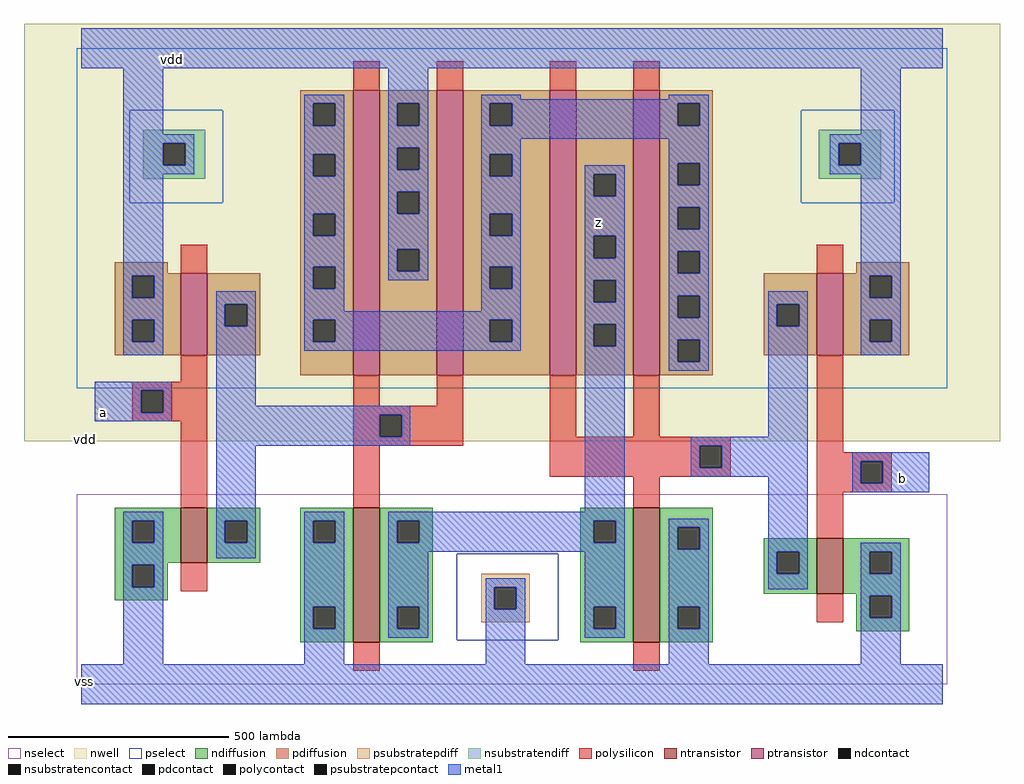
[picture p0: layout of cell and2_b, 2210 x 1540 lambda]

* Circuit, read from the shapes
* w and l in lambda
.subckt and2_b z a b vdd vss
M1 n1 a vss vss nfet w=125 l=60
M2 z n1 vss vss nfet w=305 l=60
M3 vss n2 z vss nfet w=305 l=60
M4 vss b n2 vss nfet w=125 l=60
M5 n1 a vdd vdd pfet w=185 l=60
M6 vdd n1 n3 vdd pfet w=645 l=60 m=2
M7 z n2 n3 vdd pfet w=645 l=60 m=2
M8 vdd b n2 vdd pfet w=185 l=60
.ends

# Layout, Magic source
magic
tech amic5n
<< nwell >>
rect -130 550 2080 1495
<< ntransistor >>
rect 225 275 285 400
rect 615 95 675 400
rect 1250 95 1310 400
rect 1665 205 1725 330
<< ptransistor >>
rect 225 745 285 930
rect 615 700 675 1345
rect 805 700 865 1345
rect 1060 700 1120 1345
rect 1250 700 1310 1345
rect 1665 745 1725 930
<< nselect >>
rect 110 1090 320 1300
rect 1630 1090 1840 1300
rect -10 295 1960 430
rect -10 100 850 295
rect 1080 100 1960 295
rect -10 0 1960 100
<< pselect >>
rect -10 1300 1960 1440
rect -10 1090 110 1300
rect 320 1090 1630 1300
rect 1840 1090 1960 1300
rect -10 670 1960 1090
rect 850 100 1080 295
<< ndiffusion >>
rect 75 370 225 400
rect 75 320 115 370
rect 165 320 225 370
rect 75 275 225 320
rect 285 370 405 400
rect 285 320 325 370
rect 375 320 405 370
rect 285 275 405 320
rect 495 370 615 400
rect 495 320 525 370
rect 575 320 615 370
rect 75 270 195 275
rect 75 220 115 270
rect 165 220 195 270
rect 75 190 195 220
rect 495 175 615 320
rect 495 125 525 175
rect 575 125 615 175
rect 495 95 615 125
rect 675 370 795 400
rect 675 320 715 370
rect 765 320 795 370
rect 675 175 795 320
rect 1130 370 1250 400
rect 1130 320 1160 370
rect 1210 320 1250 370
rect 675 125 715 175
rect 765 125 795 175
rect 1130 175 1250 320
rect 675 95 795 125
rect 1130 125 1160 175
rect 1210 125 1250 175
rect 1130 95 1250 125
rect 1310 355 1430 400
rect 1310 305 1350 355
rect 1400 305 1430 355
rect 1310 175 1430 305
rect 1545 300 1665 330
rect 1545 250 1575 300
rect 1625 250 1665 300
rect 1545 205 1665 250
rect 1725 300 1875 330
rect 1725 250 1785 300
rect 1835 250 1875 300
rect 1725 205 1875 250
rect 1310 125 1350 175
rect 1400 125 1430 175
rect 1755 200 1875 205
rect 1755 150 1785 200
rect 1835 150 1875 200
rect 1310 95 1430 125
rect 1755 120 1875 150
<< pdiffusion >>
rect 495 1315 615 1345
rect 495 1265 525 1315
rect 575 1265 615 1315
rect 495 1200 615 1265
rect 495 1150 525 1200
rect 575 1150 615 1200
rect 495 1065 615 1150
rect 495 1015 525 1065
rect 575 1015 615 1065
rect 75 930 195 955
rect 495 945 615 1015
rect 75 925 225 930
rect 75 875 115 925
rect 165 875 225 925
rect 75 825 225 875
rect 75 775 115 825
rect 165 775 225 825
rect 75 745 225 775
rect 285 860 405 930
rect 285 810 325 860
rect 375 810 405 860
rect 285 745 405 810
rect 495 895 525 945
rect 575 895 615 945
rect 495 825 615 895
rect 495 775 525 825
rect 575 775 615 825
rect 495 700 615 775
rect 675 1315 805 1345
rect 675 1265 715 1315
rect 765 1265 805 1315
rect 675 1215 805 1265
rect 675 1165 715 1215
rect 765 1165 805 1215
rect 675 1115 805 1165
rect 675 1065 715 1115
rect 765 1065 805 1115
rect 675 985 805 1065
rect 675 935 715 985
rect 765 935 805 985
rect 675 700 805 935
rect 865 1315 1060 1345
rect 865 1265 925 1315
rect 975 1265 1060 1315
rect 865 1200 1060 1265
rect 865 1150 925 1200
rect 975 1150 1060 1200
rect 865 1065 1060 1150
rect 865 1015 925 1065
rect 975 1015 1060 1065
rect 865 945 1060 1015
rect 865 895 925 945
rect 975 895 1060 945
rect 865 825 1060 895
rect 865 775 925 825
rect 975 775 1060 825
rect 865 700 1060 775
rect 1120 1155 1250 1345
rect 1120 1105 1160 1155
rect 1210 1105 1250 1155
rect 1120 1015 1250 1105
rect 1120 965 1160 1015
rect 1210 965 1250 1015
rect 1120 915 1250 965
rect 1120 865 1160 915
rect 1210 865 1250 915
rect 1120 815 1250 865
rect 1120 765 1160 815
rect 1210 765 1250 815
rect 1120 700 1250 765
rect 1310 1315 1430 1345
rect 1310 1265 1350 1315
rect 1400 1265 1430 1315
rect 1310 1180 1430 1265
rect 1310 1130 1350 1180
rect 1400 1130 1430 1180
rect 1310 1080 1430 1130
rect 1310 1030 1350 1080
rect 1400 1030 1430 1080
rect 1310 980 1430 1030
rect 1310 930 1350 980
rect 1400 930 1430 980
rect 1755 930 1875 955
rect 1310 880 1430 930
rect 1310 830 1350 880
rect 1400 830 1430 880
rect 1310 780 1430 830
rect 1310 730 1350 780
rect 1400 730 1430 780
rect 1545 860 1665 930
rect 1545 810 1575 860
rect 1625 810 1665 860
rect 1545 745 1665 810
rect 1725 925 1875 930
rect 1725 875 1785 925
rect 1835 875 1875 925
rect 1725 825 1875 875
rect 1725 775 1785 825
rect 1835 775 1875 825
rect 1725 745 1875 775
rect 1310 700 1430 730
<< psubstratepdiff >>
rect 905 220 1015 250
rect 905 170 935 220
rect 985 170 1015 220
rect 905 140 1015 170
<< nsubstratendiff >>
rect 140 1225 280 1255
rect 140 1175 185 1225
rect 235 1175 280 1225
rect 140 1145 280 1175
rect 1670 1225 1810 1255
rect 1670 1175 1715 1225
rect 1765 1175 1810 1225
rect 1670 1145 1810 1175
<< nsubstratencontact >>
rect 185 1175 235 1225
rect 1715 1175 1765 1225
<< psubstratepcontact >>
rect 935 170 985 220
<< ndcontact >>
rect 115 320 165 370
rect 325 320 375 370
rect 525 320 575 370
rect 115 220 165 270
rect 525 125 575 175
rect 715 320 765 370
rect 1160 320 1210 370
rect 715 125 765 175
rect 1160 125 1210 175
rect 1350 305 1400 355
rect 1575 250 1625 300
rect 1785 250 1835 300
rect 1350 125 1400 175
rect 1785 150 1835 200
<< pdcontact >>
rect 525 1265 575 1315
rect 525 1150 575 1200
rect 525 1015 575 1065
rect 115 875 165 925
rect 115 775 165 825
rect 325 810 375 860
rect 525 895 575 945
rect 525 775 575 825
rect 715 1265 765 1315
rect 715 1165 765 1215
rect 715 1065 765 1115
rect 715 935 765 985
rect 925 1265 975 1315
rect 925 1150 975 1200
rect 925 1015 975 1065
rect 925 895 975 945
rect 925 775 975 825
rect 1160 1105 1210 1155
rect 1160 965 1210 1015
rect 1160 865 1210 915
rect 1160 765 1210 815
rect 1350 1265 1400 1315
rect 1350 1130 1400 1180
rect 1350 1030 1400 1080
rect 1350 930 1400 980
rect 1350 830 1400 880
rect 1350 730 1400 780
rect 1575 810 1625 860
rect 1785 875 1835 925
rect 1785 775 1835 825
<< polysilicon >>
rect 615 1345 675 1410
rect 805 1345 865 1410
rect 1060 1345 1120 1410
rect 1250 1345 1310 1410
rect 225 930 285 995
rect 225 685 285 745
rect 1665 930 1725 995
rect 115 665 285 685
rect 115 615 135 665
rect 185 615 285 665
rect 115 595 285 615
rect 225 400 285 595
rect 615 630 675 700
rect 805 630 865 700
rect 615 610 865 630
rect 615 560 675 610
rect 725 560 865 610
rect 615 540 865 560
rect 1060 560 1120 700
rect 1250 560 1310 700
rect 1060 540 1470 560
rect 615 400 675 540
rect 1060 490 1400 540
rect 1450 490 1470 540
rect 1060 470 1470 490
rect 1665 525 1725 745
rect 1665 505 1835 525
rect 1250 400 1310 470
rect 1665 455 1765 505
rect 1815 455 1835 505
rect 1665 435 1835 455
rect 225 210 285 275
rect 1665 330 1725 435
rect 1665 140 1725 205
rect 615 30 675 95
rect 1250 30 1310 95
<< polycontact >>
rect 135 615 185 665
rect 675 560 725 610
rect 1400 490 1450 540
rect 1765 455 1815 505
<< metal1 >>
rect 0 1395 1950 1485
rect 95 1245 185 1395
rect 505 1315 595 1335
rect 505 1265 525 1315
rect 575 1265 595 1315
rect 95 1225 255 1245
rect 95 1175 185 1225
rect 235 1175 255 1225
rect 95 1155 255 1175
rect 505 1200 595 1265
rect 95 925 185 1155
rect 95 875 115 925
rect 165 875 185 925
rect 505 1150 525 1200
rect 575 1150 595 1200
rect 505 1065 595 1150
rect 505 1015 525 1065
rect 575 1015 595 1065
rect 505 945 595 1015
rect 505 895 525 945
rect 575 895 595 945
rect 695 1315 785 1395
rect 695 1265 715 1315
rect 765 1265 785 1315
rect 695 1215 785 1265
rect 695 1165 715 1215
rect 765 1165 785 1215
rect 695 1115 785 1165
rect 695 1065 715 1115
rect 765 1065 785 1115
rect 695 985 785 1065
rect 695 935 715 985
rect 765 935 785 985
rect 695 915 785 935
rect 905 1325 995 1335
rect 1330 1325 1420 1335
rect 905 1315 1420 1325
rect 905 1265 925 1315
rect 975 1265 1350 1315
rect 1400 1265 1420 1315
rect 905 1235 1420 1265
rect 1765 1245 1855 1395
rect 905 1200 995 1235
rect 905 1150 925 1200
rect 975 1150 995 1200
rect 1330 1180 1420 1235
rect 905 1065 995 1150
rect 905 1015 925 1065
rect 975 1015 995 1065
rect 905 945 995 1015
rect 95 825 185 875
rect 95 775 115 825
rect 165 775 185 825
rect 95 745 185 775
rect 305 860 395 890
rect 305 810 325 860
rect 375 810 395 860
rect 30 665 205 685
rect 30 615 135 665
rect 185 615 205 665
rect 30 595 205 615
rect 305 630 395 810
rect 505 845 595 895
rect 905 895 925 945
rect 975 895 995 945
rect 905 845 995 895
rect 505 825 995 845
rect 505 775 525 825
rect 575 775 925 825
rect 975 775 995 825
rect 505 755 995 775
rect 1140 1155 1230 1175
rect 1140 1105 1160 1155
rect 1210 1105 1230 1155
rect 1140 1015 1230 1105
rect 1140 965 1160 1015
rect 1210 965 1230 1015
rect 1140 915 1230 965
rect 1140 865 1160 915
rect 1210 865 1230 915
rect 1140 815 1230 865
rect 1140 765 1160 815
rect 1210 765 1230 815
rect 305 610 745 630
rect 305 560 675 610
rect 725 560 745 610
rect 305 540 745 560
rect 95 370 185 390
rect 95 320 115 370
rect 165 320 185 370
rect 95 270 185 320
rect 305 370 395 540
rect 1140 390 1230 765
rect 1330 1130 1350 1180
rect 1400 1130 1420 1180
rect 1695 1225 1855 1245
rect 1695 1175 1715 1225
rect 1765 1175 1855 1225
rect 1695 1155 1855 1175
rect 1330 1080 1420 1130
rect 1330 1030 1350 1080
rect 1400 1030 1420 1080
rect 1330 980 1420 1030
rect 1330 930 1350 980
rect 1400 930 1420 980
rect 1330 880 1420 930
rect 1765 925 1855 1155
rect 1330 830 1350 880
rect 1400 830 1420 880
rect 1330 780 1420 830
rect 1330 730 1350 780
rect 1400 730 1420 780
rect 1330 710 1420 730
rect 1555 860 1645 890
rect 1555 810 1575 860
rect 1625 810 1645 860
rect 1555 560 1645 810
rect 1765 875 1785 925
rect 1835 875 1855 925
rect 1765 825 1855 875
rect 1765 775 1785 825
rect 1835 775 1855 825
rect 1765 745 1855 775
rect 1380 540 1645 560
rect 1380 490 1400 540
rect 1450 490 1645 540
rect 1380 470 1645 490
rect 305 320 325 370
rect 375 320 395 370
rect 305 285 395 320
rect 505 370 595 390
rect 505 320 525 370
rect 575 320 595 370
rect 95 220 115 270
rect 165 220 185 270
rect 95 45 185 220
rect 505 175 595 320
rect 505 125 525 175
rect 575 125 595 175
rect 505 45 595 125
rect 695 370 1230 390
rect 695 320 715 370
rect 765 320 1160 370
rect 1210 320 1230 370
rect 695 300 1230 320
rect 695 175 785 300
rect 695 125 715 175
rect 765 125 785 175
rect 695 105 785 125
rect 915 220 1005 240
rect 915 170 935 220
rect 985 170 1005 220
rect 915 45 1005 170
rect 1140 175 1230 300
rect 1140 125 1160 175
rect 1210 125 1230 175
rect 1140 105 1230 125
rect 1330 355 1420 375
rect 1330 305 1350 355
rect 1400 305 1420 355
rect 1330 175 1420 305
rect 1555 300 1645 470
rect 1745 505 1920 525
rect 1745 455 1765 505
rect 1815 455 1920 505
rect 1745 435 1920 455
rect 1555 250 1575 300
rect 1625 250 1645 300
rect 1555 215 1645 250
rect 1765 300 1855 320
rect 1765 250 1785 300
rect 1835 250 1855 300
rect 1330 125 1350 175
rect 1400 125 1420 175
rect 1330 45 1420 125
rect 1765 200 1855 250
rect 1765 150 1785 200
rect 1835 150 1855 200
rect 1765 45 1855 150
rect 0 -45 1950 45
<< labels >>
flabel metal1 s 1170 1045 1170 1045 2 FreeSans 400 0 0 0 z
port 0 ne
flabel metal1 s 50 615 50 615 2 FreeSans 400 0 0 0 a
port 1 ne
flabel metal1 s 206 1415 206 1415 2 FreeSans 400 0 0 0 vdd
port 3 ne
flabel metal1 s 1860 465 1860 465 2 FreeSans 400 0 0 0 b
port 2 ne
flabel nwell 10 555 10 555 2 FreeSans 400 0 0 0 vdd
flabel metal1 s 6 5 6 5 2 FreeSans 400 0 0 0 vss
port 4 ne
<< properties >>
string FIXED_BBOX 0 0 1950 1440
string LEFsite core
string LEFclass CORE
string LEFsymmetry X Y
<< end >>
